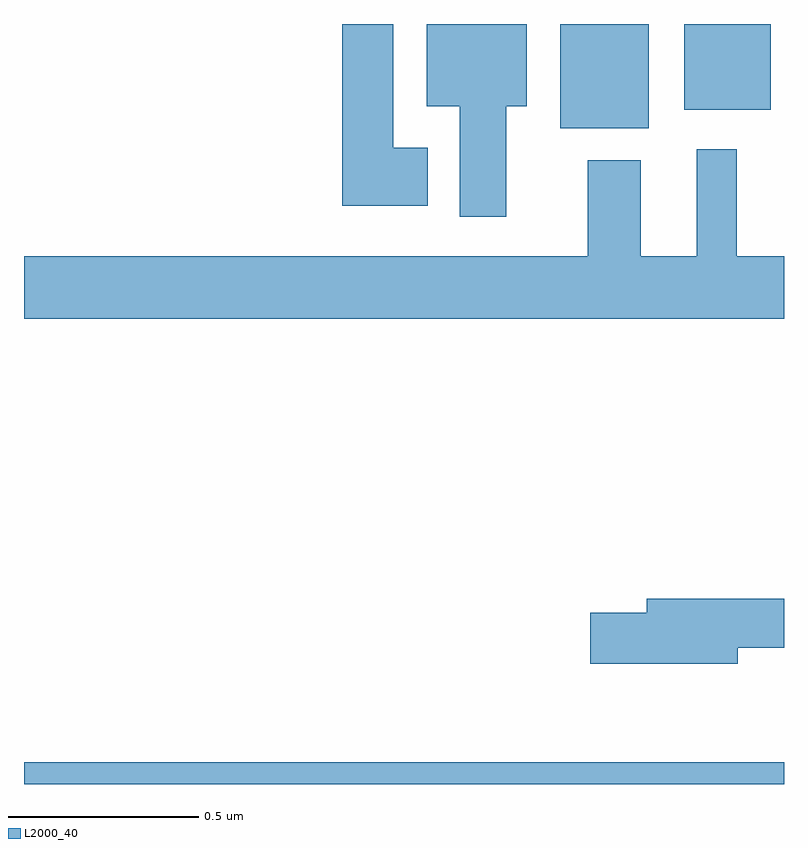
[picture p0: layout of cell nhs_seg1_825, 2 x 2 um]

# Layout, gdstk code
import gdstk
lib = gdstk.Library(unit=1e-6, precision=1e-09)
def R(c, l, rs):  # rectangles x0, y0, x1, y1
    for r in rs: c.add(gdstk.rectangle(r[:2], r[2:], *l))
def P(c, l, *ps):  # polygons
    for p in ps: c.add(gdstk.Polygon(p, *l))
L2000_40 = (2000, 40)

nhs_seg1_825 = lib.new_cell('nhs_seg1_825')
R(nhs_seg1_825, L2000_40, [(121,525.199,123,525.256), (122.411,526.925,122.644,527.199), (122.738,526.973,122.965,527.199)])
P(nhs_seg1_825, L2000_40, [(122.062,526.873),(121.972,526.873),(121.972,527.199),(121.838,527.199),(121.838,526.721),(122.062,526.721)],
  [(122.269,526.982),(122.323,526.982),(122.323,527.199),(122.06,527.199),(122.06,526.982),(122.147,526.982),(122.147,526.692),(122.269,526.692)],
  [(123,526.588),(122.875,526.588),(122.875,526.87),(122.771,526.87),(122.771,526.588),(122.623,526.588),(122.623,526.84),(122.483,526.84),(122.483,526.588),(121,526.588),(121,526.424),(123,526.424)],
  [(122.878,525.558),(123,525.558),(123,525.686),(122.639,525.686),(122.639,525.65),(122.49,525.65),(122.49,525.515),(122.878,525.515)])

lib.write_gds('nhs_seg1_825.gds')
